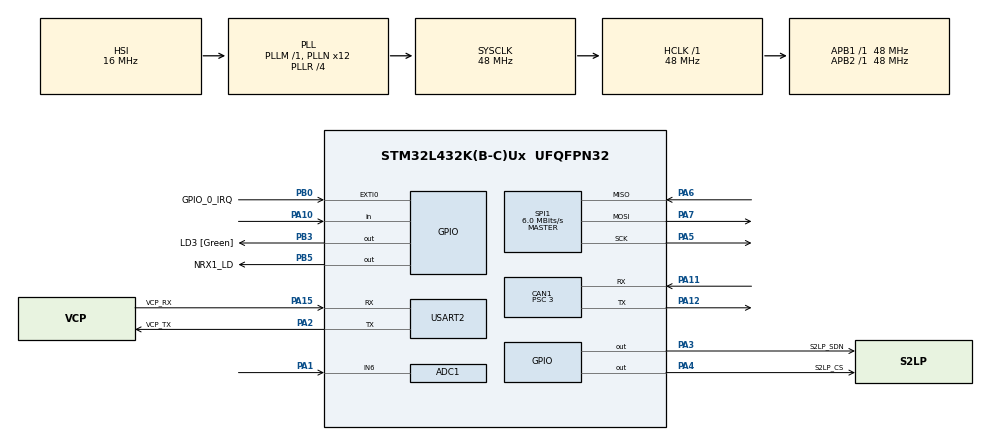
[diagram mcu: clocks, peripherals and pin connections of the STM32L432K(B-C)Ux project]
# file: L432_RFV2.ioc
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ADC1.Channel-0\#ChannelRegularConversion=ADC_CHANNEL_6
ADC1.NbrOfConversionFlag=1
ADC1.OffsetNumber-0\#ChannelRegularConversion=ADC_OFFSET_NONE
ADC1.Rank-0\#ChannelRegularConversion=1
ADC1.Resolution=ADC_RESOLUTION_8B
ADC1.SamplingTime-0\#ChannelRegularConversion=ADC_SAMPLETIME_2CYCLES_5
ADC1.master=1
CAN1.BS1=CAN_BS1_13TQ
CAN1.BS2=CAN_BS2_2TQ
CAN1.CalculateBaudRate=1000000
CAN1.CalculateTimeBit=1000
CAN1.CalculateTimeQuantum=62.5
CAN1.Prescaler=3
Mcu.Family=STM32L4
Mcu.Name=STM32L432K(B-C)Ux
Mcu.Package=UFQFPN32
NVIC.CAN1_RX0_IRQn=true\:0\:0\:false\:false\:true\:true\:true\:true
NVIC.EXTI0_IRQn=true\:0\:0\:false\:false\:true\:true\:true\:true
NVIC.PriorityGroup=NVIC_PRIORITYGROUP_4
NVIC.TIM1_UP_TIM16_IRQn=true\:0\:0\:false\:false\:true\:true\:true\:true
PA0.GPIO_Label=MCO [High speed clock in]
PA0.Mode=HSE-External-Clock-Source-for-LittleOrca
PA0.Signal=RCC_CK_IN
PA1.Signal=ADCx_IN6
PA10.Signal=GPIO_Input
PA11.Mode=CAN_Activate
PA11.Signal=CAN1_RX
PA12.Mode=CAN_Activate
PA12.Signal=CAN1_TX
PA13\ (JTMS-SWDIO).GPIO_Label=SWDIO
PA13\ (JTMS-SWDIO).Mode=Serial_Wire
PA13\ (JTMS-SWDIO).Signal=SYS_JTMS-SWDIO
PA14\ (JTCK-SWCLK).GPIO_Label=SWCLK
PA14\ (JTCK-SWCLK).Mode=Serial_Wire
PA14\ (JTCK-SWCLK).Signal=SYS_JTCK-SWCLK
PA15\ (JTDI).GPIO_Label=VCP_RX
PA15\ (JTDI).Mode=Asynchronous
PA15\ (JTDI).Signal=USART2_RX
PA2.GPIO_Label=VCP_TX
PA2.Mode=Asynchronous
PA2.Signal=USART2_TX
PA3.GPIO_Label=S2LP_SDN
PA3.Signal=GPIO_Output
PA4.GPIO_Label=S2LP_CS
PA4.Signal=GPIO_Output
PA5.Mode=Full_Duplex_Master
PA5.Signal=SPI1_SCK
PA6.Mode=Full_Duplex_Master
PA6.Signal=SPI1_MISO
PA7.Mode=Full_Duplex_Master
PA7.Signal=SPI1_MOSI
PB0.GPIO_Label=GPIO_0_IRQ
PB0.GPIO_ModeDefaultEXTI=GPIO_MODE_IT_FALLING
PB0.Signal=GPXTI0
PB3\ (JTDO-TRACESWO).GPIO_Label=LD3 [Green]
PB3\ (JTDO-TRACESWO).Signal=GPIO_Output
PB5.GPIO_Label=NRX1_LD
PB5.Signal=GPIO_Output
PC14-OSC32_IN\ (PC14).Mode=LSE-External-Oscillator
PC14-OSC32_IN\ (PC14).Signal=RCC_OSC32_IN
PC15-OSC32_OUT\ (PC15).Mode=LSE-External-Oscillator
PC15-OSC32_OUT\ (PC15).Signal=RCC_OSC32_OUT
ProjectManager.HeapSize=0x200
ProjectManager.StackSize=0x400
ProjectManager.TargetToolchain=STM32CubeIDE
RCC.ADCFreq_Value=64000000
RCC.AHBFreq_Value=48000000
RCC.APB1Freq_Value=48000000
RCC.APB1TimFreq_Value=48000000
RCC.APB2Freq_Value=48000000
RCC.APB2TimFreq_Value=48000000
RCC.CortexFreq_Value=48000000
RCC.HCLKFreq_Value=48000000
RCC.HSE_VALUE=8000000
RCC.HSI16_VALUE=16000000
RCC.HSI48_VALUE=48000000
RCC.HSI_VALUE=16000000
RCC.MSI_VALUE=4000000
RCC.PLLMUL=RCC_PLLMUL_4
RCC.PLLN=12
RCC.PLLR=RCC_PLLR_DIV4
RCC.PLLSourceVirtual=RCC_PLLSOURCE_HSI
RCC.SYSCLKFreq_VALUE=48000000
RCC.SYSCLKSource=RCC_SYSCLKSOURCE_PLLCLK
RCC.USART1CLockSelection=RCC_USART1CLKSOURCE_HSI
RCC.USBFreq_Value=64000000
RCC.VCOOutputFreq_Value=192000000
SH.ADCx_IN6.0=ADC1_IN6,IN6-Single-Ended
SPI1.BaudRatePrescaler=SPI_BAUDRATEPRESCALER_8
SPI1.CLKPhase=SPI_PHASE_1EDGE
SPI1.CalculateBaudRate=6.0 MBits/s
SPI1.DataSize=SPI_DATASIZE_8BIT
SPI1.Direction=SPI_DIRECTION_2LINES
SPI1.Mode=SPI_MODE_MASTER
SPI1.VirtualType=VM_MASTER
TIM16.Period=625-1
TIM16.Prescaler=1-1
USART2.VirtualMode-Asynchronous=VM_ASYNC
VP_TIM16_VS_ClockSourceINT.Mode=Enable_Timer
board=NUCLEO-L432KC

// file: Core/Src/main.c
/* USER CODE BEGIN Header */
/**
  ******************************************************************************
  * @file           : main.c
  * @brief          : Main program body
  ******************************************************************************
  * @attention
  *
  * <h2><center>&copy; Copyright (c) 2022 STMicroelectronics.
  * All rights reserved.</center></h2>
  *
  * This software component is licensed by ST under BSD 3-Clause license,
  * the "License"; You may not use this file except in compliance with the
  * License. You may obtain a copy of the License at:
  *                        opensource.org/licenses/BSD-3-Clause
  *
  ******************************************************************************
  */
/* USER CODE END Header */
#include "main.h"

/* USER CODE BEGIN Includes */

/* INCLUDE FOR TOTAL FUNCTION */
#include "process.h"

/* USER CODE END Includes */

ADC_HandleTypeDef hadc1;

CAN_HandleTypeDef hcan1;

SPI_HandleTypeDef hspi1;

TIM_HandleTypeDef htim16;

UART_HandleTypeDef huart2;

/* USER CODE BEGIN PV */
S2LP uhf;

NRX1_TIM vhf_TIM;

CANBUS comm;

TELEMETRY tel;
/* USER CODE END PV */

void SystemClock_Config(void);
static void MX_GPIO_Init(void);
static void MX_USART2_UART_Init(void);
static void MX_SPI1_Init(void);
static void MX_CAN1_Init(void);
static void MX_ADC1_Init(void);
static void MX_TIM16_Init(void);

/* USER CODE BEGIN 0 */

void HAL_GPIO_EXTI_Callback(uint16_t GPIO_Pin)
{
	if (GPIO_Pin == GPIO_0_IRQ_Pin)
	{
		uint8_t irq_state;
		uhf.TX_STATE = 0;
		S2LP_Read(&uhf, IRQ_STATUS0, 1, &irq_state);
	}
}

void HAL_CAN_RxFifo0MsgPendingCallback( CAN_HandleTypeDef *hcan )
{
	HAL_CAN_GetRxMessage(hcan, CAN_RX_FIFO0, &comm.RXHeader, comm.RXdata);
	CAN_Receive( &comm );
}

void HAL_TIM_PeriodElapsedCallback(TIM_HandleTypeDef *htim)
{
	if(htim == &htim16)
	{
		NRX1_TIMRX( &vhf_TIM );
	}
}

/* USER CODE END 0 */

int main(void)
{

  /* MCU Configuration--------------------------------------------------------*/

  /* Reset of all peripherals, Initializes the Flash interface and the Systick. */
  HAL_Init();

  /* Configure the system clock */
  SystemClock_Config();

  /* Initialize all configured peripherals */
  MX_GPIO_Init();
  MX_USART2_UART_Init();
  MX_SPI1_Init();
  MX_CAN1_Init();
  MX_ADC1_Init();
  MX_TIM16_Init();
  /* USER CODE BEGIN 2 */

  NRX1_Initialise_TIM( &vhf_TIM, GPIOA, GPIO_PIN_10, &hadc1, &htim16);

  S2LP_Initialise( &uhf, &hspi1, S2LP_CS_GPIO_Port, S2LP_CS_Pin, S2LP_SDN_GPIO_Port, S2LP_SDN_Pin );

  CAN_Initialise( &comm, &hcan1, SAT_RCS, 0x0F0, 0, 10 );

//  S2LP_TransmitIncreasing(&uhf, 2);

  uint32_t time = HAL_GetTick();

//  uint32_t max_transmit_test = 0;

  /* USER CODE END 2 */

  /* Infinite loop */
  /* USER CODE BEGIN WHILE */
  while (1)
  {
	  /*
	   * INPUT TRIGGERED FUNCTIONS
	   */

	  RF_PROCESS( &uhf, &vhf_TIM, &comm, &tel );

	  CAN_PROCESS( &uhf, &comm, &tel );

	  /*
	   * SCHEDULED FUNCTIONS
	   */

	  if (HAL_GetTick() - time > 500)
	  {
		  time = HAL_GetTick();
		  HAL_GPIO_TogglePin(LD3_GPIO_Port, LD3_Pin);
	  }

	  /*
	   * EVERY LOOP FUNCTIONS
	   */

	  if (vhf_TIM.adc_RSSI == 1)
	  {
		  getRSSI_TIM(&vhf_TIM);
	  }

//	  max_transmit_test = S2LP_MAXTransmitSpeed(&uhf, max_transmit_test);

    /* USER CODE END WHILE */

  }
}

void SystemClock_Config(void)
{
  RCC_OscInitTypeDef RCC_OscInitStruct = {0};
  RCC_ClkInitTypeDef RCC_ClkInitStruct = {0};

  /** Configure the main internal regulator output voltage
  */
  if (HAL_PWREx_ControlVoltageScaling(PWR_REGULATOR_VOLTAGE_SCALE1) != HAL_OK)
  {
    Error_Handler();
  }

  /** Initializes the RCC Oscillators according to the specified parameters
  * in the RCC_OscInitTypeDef structure.
  */
  RCC_OscInitStruct.OscillatorType = RCC_OSCILLATORTYPE_HSI;
  RCC_OscInitStruct.HSIState = RCC_HSI_ON;
  RCC_OscInitStruct.HSICalibrationValue = RCC_HSICALIBRATION_DEFAULT;
  RCC_OscInitStruct.PLL.PLLState = RCC_PLL_ON;
  RCC_OscInitStruct.PLL.PLLSource = RCC_PLLSOURCE_HSI;
  RCC_OscInitStruct.PLL.PLLM = 1;
  RCC_OscInitStruct.PLL.PLLN = 12;
  RCC_OscInitStruct.PLL.PLLP = RCC_PLLP_DIV7;
  RCC_OscInitStruct.PLL.PLLQ = RCC_PLLQ_DIV2;
  RCC_OscInitStruct.PLL.PLLR = RCC_PLLR_DIV4;
  if (HAL_RCC_OscConfig(&RCC_OscInitStruct) != HAL_OK)
  {
    Error_Handler();
  }

  /** Initializes the CPU, AHB and APB buses clocks
  */
  RCC_ClkInitStruct.ClockType = RCC_CLOCKTYPE_HCLK|RCC_CLOCKTYPE_SYSCLK
                              |RCC_CLOCKTYPE_PCLK1|RCC_CLOCKTYPE_PCLK2;
  RCC_ClkInitStruct.SYSCLKSource = RCC_SYSCLKSOURCE_PLLCLK;
  RCC_ClkInitStruct.AHBCLKDivider = RCC_SYSCLK_DIV1;
  RCC_ClkInitStruct.APB1CLKDivider = RCC_HCLK_DIV1;
  RCC_ClkInitStruct.APB2CLKDivider = RCC_HCLK_DIV1;

  if (HAL_RCC_ClockConfig(&RCC_ClkInitStruct, FLASH_LATENCY_2) != HAL_OK)
  {
    Error_Handler();
  }
}

static void MX_ADC1_Init(void)
{

  ADC_ChannelConfTypeDef sConfig = {0};

  /** Common config
  */
  hadc1.Instance = ADC1;
  hadc1.Init.ClockPrescaler = ADC_CLOCK_ASYNC_DIV1;
  hadc1.Init.Resolution = ADC_RESOLUTION_8B;
  hadc1.Init.DataAlign = ADC_DATAALIGN_RIGHT;
  hadc1.Init.ScanConvMode = ADC_SCAN_DISABLE;
  hadc1.Init.EOCSelection = ADC_EOC_SINGLE_CONV;
  hadc1.Init.LowPowerAutoWait = DISABLE;
  hadc1.Init.ContinuousConvMode = DISABLE;
  hadc1.Init.NbrOfConversion = 1;
  hadc1.Init.DiscontinuousConvMode = DISABLE;
  hadc1.Init.ExternalTrigConv = ADC_SOFTWARE_START;
  hadc1.Init.ExternalTrigConvEdge = ADC_EXTERNALTRIGCONVEDGE_NONE;
  hadc1.Init.DMAContinuousRequests = DISABLE;
  hadc1.Init.Overrun = ADC_OVR_DATA_PRESERVED;
  hadc1.Init.OversamplingMode = DISABLE;
  if (HAL_ADC_Init(&hadc1) != HAL_OK)
  {
    Error_Handler();
  }

  /** Configure Regular Channel
  */
  sConfig.Channel = ADC_CHANNEL_6;
  sConfig.Rank = ADC_REGULAR_RANK_1;
  sConfig.SamplingTime = ADC_SAMPLETIME_2CYCLES_5;
  sConfig.SingleDiff = ADC_SINGLE_ENDED;
  sConfig.OffsetNumber = ADC_OFFSET_NONE;
  sConfig.Offset = 0;
  if (HAL_ADC_ConfigChannel(&hadc1, &sConfig) != HAL_OK)
  {
    Error_Handler();
  }

}

static void MX_CAN1_Init(void)
{

  hcan1.Instance = CAN1;
  hcan1.Init.Prescaler = 3;
  hcan1.Init.Mode = CAN_MODE_NORMAL;
  hcan1.Init.SyncJumpWidth = CAN_SJW_1TQ;
  hcan1.Init.TimeSeg1 = CAN_BS1_13TQ;
  hcan1.Init.TimeSeg2 = CAN_BS2_2TQ;
  hcan1.Init.TimeTriggeredMode = DISABLE;
  hcan1.Init.AutoBusOff = DISABLE;
  hcan1.Init.AutoWakeUp = DISABLE;
  hcan1.Init.AutoRetransmission = DISABLE;
  hcan1.Init.ReceiveFifoLocked = DISABLE;
  hcan1.Init.TransmitFifoPriority = DISABLE;
  if (HAL_CAN_Init(&hcan1) != HAL_OK)
  {
    Error_Handler();
  }

}

static void MX_SPI1_Init(void)
{

  /* SPI1 parameter configuration*/
  hspi1.Instance = SPI1;
  hspi1.Init.Mode = SPI_MODE_MASTER;
  hspi1.Init.Direction = SPI_DIRECTION_2LINES;
  hspi1.Init.DataSize = SPI_DATASIZE_8BIT;
  hspi1.Init.CLKPolarity = SPI_POLARITY_LOW;
  hspi1.Init.CLKPhase = SPI_PHASE_1EDGE;
  hspi1.Init.NSS = SPI_NSS_SOFT;
  hspi1.Init.BaudRatePrescaler = SPI_BAUDRATEPRESCALER_8;
  hspi1.Init.FirstBit = SPI_FIRSTBIT_MSB;
  hspi1.Init.TIMode = SPI_TIMODE_DISABLE;
  hspi1.Init.CRCCalculation = SPI_CRCCALCULATION_DISABLE;
  hspi1.Init.CRCPolynomial = 7;
  hspi1.Init.CRCLength = SPI_CRC_LENGTH_DATASIZE;
  hspi1.Init.NSSPMode = SPI_NSS_PULSE_ENABLE;
  if (HAL_SPI_Init(&hspi1) != HAL_OK)
  {
    Error_Handler();
  }

}

static void MX_TIM16_Init(void)
{

  htim16.Instance = TIM16;
  htim16.Init.Prescaler = 1-1;
  htim16.Init.CounterMode = TIM_COUNTERMODE_UP;
  htim16.Init.Period = 625-1;
  htim16.Init.ClockDivision = TIM_CLOCKDIVISION_DIV1;
  htim16.Init.RepetitionCounter = 0;
  htim16.Init.AutoReloadPreload = TIM_AUTORELOAD_PRELOAD_DISABLE;
  if (HAL_TIM_Base_Init(&htim16) != HAL_OK)
  {
    Error_Handler();
  }

}

static void MX_USART2_UART_Init(void)
{

  huart2.Instance = USART2;
  huart2.Init.BaudRate = 115200;
  huart2.Init.WordLength = UART_WORDLENGTH_8B;
  huart2.Init.StopBits = UART_STOPBITS_1;
  huart2.Init.Parity = UART_PARITY_NONE;
  huart2.Init.Mode = UART_MODE_TX_RX;
  huart2.Init.HwFlowCtl = UART_HWCONTROL_NONE;
  huart2.Init.OverSampling = UART_OVERSAMPLING_16;
  huart2.Init.OneBitSampling = UART_ONE_BIT_SAMPLE_DISABLE;
  huart2.AdvancedInit.AdvFeatureInit = UART_ADVFEATURE_NO_INIT;
  if (HAL_UART_Init(&huart2) != HAL_OK)
  {
    Error_Handler();
  }

}

static void MX_GPIO_Init(void)
{
  GPIO_InitTypeDef GPIO_InitStruct = {0};

  /* GPIO Ports Clock Enable */
  __HAL_RCC_GPIOC_CLK_ENABLE();
  __HAL_RCC_GPIOA_CLK_ENABLE();
  __HAL_RCC_GPIOB_CLK_ENABLE();

  /*Configure GPIO pin Output Level */
  HAL_GPIO_WritePin(GPIOA, S2LP_SDN_Pin|S2LP_CS_Pin, GPIO_PIN_RESET);

  /*Configure GPIO pin Output Level */
  HAL_GPIO_WritePin(GPIOB, LD3_Pin|NRX1_LD_Pin, GPIO_PIN_RESET);

  /*Configure GPIO pins : S2LP_SDN_Pin S2LP_CS_Pin */
  GPIO_InitStruct.Pin = S2LP_SDN_Pin|S2LP_CS_Pin;
  GPIO_InitStruct.Mode = GPIO_MODE_OUTPUT_PP;
  GPIO_InitStruct.Pull = GPIO_NOPULL;
  GPIO_InitStruct.Speed = GPIO_SPEED_FREQ_LOW;
  HAL_GPIO_Init(GPIOA, &GPIO_InitStruct);

  /*Configure GPIO pin : GPIO_0_IRQ_Pin */
  GPIO_InitStruct.Pin = GPIO_0_IRQ_Pin;
  GPIO_InitStruct.Mode = GPIO_MODE_IT_FALLING;
  GPIO_InitStruct.Pull = GPIO_NOPULL;
  HAL_GPIO_Init(GPIO_0_IRQ_GPIO_Port, &GPIO_InitStruct);

  /*Configure GPIO pin : PA10 */
  GPIO_InitStruct.Pin = GPIO_PIN_10;
  GPIO_InitStruct.Mode = GPIO_MODE_INPUT;
  GPIO_InitStruct.Pull = GPIO_NOPULL;
  HAL_GPIO_Init(GPIOA, &GPIO_InitStruct);

  /*Configure GPIO pins : LD3_Pin NRX1_LD_Pin */
  GPIO_InitStruct.Pin = LD3_Pin|NRX1_LD_Pin;
  GPIO_InitStruct.Mode = GPIO_MODE_OUTPUT_PP;
  GPIO_InitStruct.Pull = GPIO_NOPULL;
  GPIO_InitStruct.Speed = GPIO_SPEED_FREQ_LOW;
  HAL_GPIO_Init(GPIOB, &GPIO_InitStruct);

  /* EXTI interrupt init*/
  HAL_NVIC_SetPriority(EXTI0_IRQn, 0, 0);
  HAL_NVIC_EnableIRQ(EXTI0_IRQn);

}

void Error_Handler(void)
{
  __disable_irq();
  while (1)
  {
  }
}
